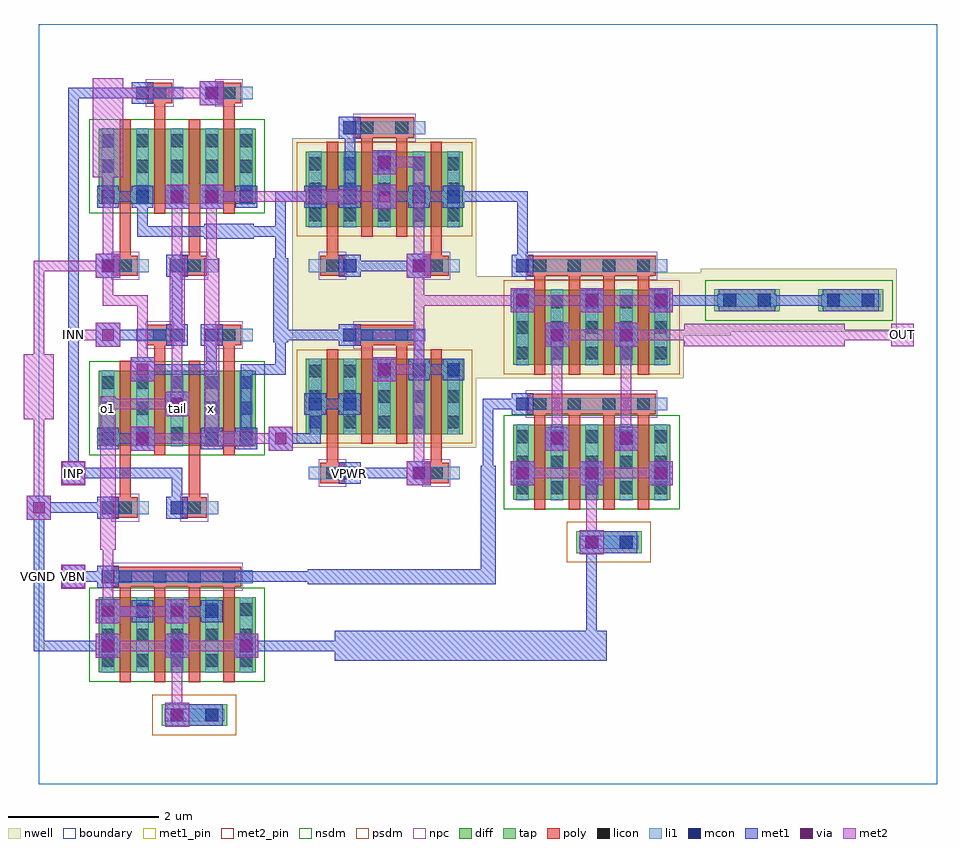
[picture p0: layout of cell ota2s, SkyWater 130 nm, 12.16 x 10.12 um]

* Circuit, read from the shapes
.subckt ota2s INN INP OUT VBN VGND VPWR o1 tail x
XM1 tail VBN VGND VGND sky130_fd_pr__nfet_01v8 w=1 l=0.15 m=4
XM2 o1 VGND o1 VGND sky130_fd_pr__nfet_01v8 w=1 l=0.15 m=2
XM3 x VGND x VGND sky130_fd_pr__nfet_01v8 w=1 l=0.15 m=2
XM4 tail INN o1 VGND sky130_fd_pr__nfet_01v8 w=1 l=0.15 m=2
XM5 tail INP x VGND sky130_fd_pr__nfet_01v8 w=1 l=0.15 m=2
XM6 OUT VBN VGND VGND sky130_fd_pr__nfet_01v8 w=1 l=0.15 m=4
XM7 o1 VPWR o1 VPWR sky130_fd_pr__pfet_01v8 w=1 l=0.15 m=2
XM8 x VPWR x VPWR sky130_fd_pr__pfet_01v8 w=1 l=0.15 m=2
XM9 VPWR x o1 VPWR sky130_fd_pr__pfet_01v8 w=1 l=0.15 m=2
XM10 VPWR x x VPWR sky130_fd_pr__pfet_01v8 w=1 l=0.15 m=2
XM11 OUT o1 VPWR VPWR sky130_fd_pr__pfet_01v8 w=1 l=0.15 m=4
.ends

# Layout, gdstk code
import gdstk
lib = gdstk.Library(unit=1e-6, precision=1e-09)
def R(c, l, rs):  # rectangles x0, y0, x1, y1
    for r in rs: c.add(gdstk.rectangle(r[:2], r[2:], *l))
def A(c, l, x, y, w, h, nx, ny, dx, dy):  # array of equal rectangles
    R(c, l, [(x+i*dx, y+j*dy, x+i*dx+w, y+j*dy+h) for i in range(nx) for j in range(ny)])
nwell = (64, 20)
diff = (65, 20)
tap = (65, 44)
poly = (66, 20)
licon = (66, 44)
li1 = (67, 20)
mcon = (67, 44)
met1_pin = (68, 16)
met1 = (68, 20)
via = (68, 44)
met2_pin = (69, 16)
met2 = (69, 20)
nsdm = (93, 44)
psdm = (94, 20)
npc = (95, 20)
boundary = (235, 4)

ota2s = lib.new_cell('ota2s')
R(ota2s, nwell, [(3.375,4.48,5.825,5.4), (3.375,5.4,8.585,5.97), (3.375,5.97,9.212,6.02), (3.375,6.02,11.425,6.76), (3.375,6.76,5.825,8.6), (8.188,6.76,11.425,6.81), (8.815,6.81,11.425,6.86)])
R(ota2s, diff, [(0.795,1.485,2.885,2.485), (6.315,3.785,8.405,4.785), (0.795,4.505,2.885,5.505), (3.555,4.66,5.645,5.66), (6.315,5.58,8.405,6.58), (3.555,7.42,5.645,8.42), (0.795,7.725,2.885,8.725)])
R(ota2s, tap, [(1.635,0.775,2.505,1.065), (7.155,3.075,8.025,3.365), (8.995,6.295,9.865,6.585), (10.375,6.295,11.245,6.585)])
A(ota2s, poly, 1.075, 1.355, 0.15, 1.405, 4, 1, 0.46, 0)
A(ota2s, poly, 6.595, 3.655, 0.15, 1.405, 4, 1, 0.46, 0)
A(ota2s, poly, 6.595, 5.45, 0.15, 1.45, 4, 1, 0.46, 0)
R(ota2s, poly, [(0.985,2.625,2.695,2.895), (0.985,3.545,1.315,3.815), (1.905,3.545,2.235,3.815), (1.075,3.68,1.225,5.635), (1.995,3.68,2.145,5.635), (3.745,4.005,4.075,4.275), (5.125,4.005,5.455,4.275), (3.835,4.14,3.985,5.79), (5.215,4.14,5.365,5.79), (1.535,4.375,1.685,5.98), (2.455,4.375,2.605,5.98), (4.295,4.53,4.445,5.98), (4.755,4.53,4.905,5.98), (6.505,4.925,8.215,5.195), (1.445,5.845,1.775,6.115), (2.365,5.845,2.695,6.115), (4.205,5.845,4.995,6.115), (0.985,6.765,1.315,7.035), (1.905,6.765,2.235,7.035), (3.745,6.765,4.075,7.035), (5.125,6.765,5.455,7.035), (6.505,6.765,8.215,7.035), (1.075,6.9,1.225,8.855), (1.995,6.9,2.145,8.855), (3.835,6.9,3.985,8.55), (5.215,6.9,5.365,8.55), (4.295,7.29,4.445,8.74), (4.755,7.29,4.905,8.74), (1.535,7.595,1.685,9.2), (2.455,7.595,2.605,9.2), (4.205,8.605,4.995,8.875), (1.445,9.065,1.775,9.335), (2.365,9.065,2.695,9.335)])
A(ota2s, licon, 0.835, 1.56, 0.17, 0.17, 5, 3, 0.46, 0.34)
A(ota2s, licon, 1.065, 2.675, 0.17, 0.17, 4, 1, 0.46, 0)
A(ota2s, licon, 6.355, 3.86, 0.17, 0.17, 5, 3, 0.46, 0.34)
A(ota2s, licon, 0.835, 4.58, 0.17, 0.17, 5, 3, 0.46, 0.34)
A(ota2s, licon, 3.595, 4.735, 0.17, 0.17, 5, 3, 0.46, 0.34)
A(ota2s, licon, 6.585, 4.975, 0.17, 0.17, 4, 1, 0.46, 0)
A(ota2s, licon, 6.355, 5.655, 0.17, 0.17, 5, 3, 0.46, 0.34)
A(ota2s, licon, 3.825, 6.815, 0.17, 0.17, 3, 1, 1.38, 0)
A(ota2s, licon, 7.045, 6.815, 0.17, 0.17, 3, 1, 0.46, 0)
A(ota2s, licon, 3.595, 7.495, 0.17, 0.17, 5, 3, 0.46, 0.34)
A(ota2s, licon, 0.835, 7.8, 0.17, 0.17, 5, 3, 0.46, 0.34)
R(ota2s, licon, [(1.755,0.835,1.925,1.005), (2.215,0.835,2.385,1.005), (7.275,3.135,7.445,3.305), (7.735,3.135,7.905,3.305), (1.065,3.595,1.235,3.765), (1.985,3.595,2.155,3.765), (3.825,4.055,3.995,4.225), (5.205,4.055,5.375,4.225), (1.525,5.895,1.695,6.065), (2.445,5.895,2.615,6.065), (4.285,5.895,4.455,6.065), (4.745,5.895,4.915,6.065), (9.115,6.355,9.285,6.525), (9.575,6.355,9.745,6.525), (10.495,6.355,10.665,6.525), (10.955,6.355,11.125,6.525), (1.065,6.815,1.235,6.985), (1.985,6.815,2.155,6.985), (4.285,8.655,4.455,8.825), (4.745,8.655,4.915,8.825), (1.525,9.115,1.695,9.285), (2.445,9.115,2.615,9.285)])
A(ota2s, li1, 0.835, 1.48, 0.17, 1.01, 5, 2, 0.46, 3.02)
A(ota2s, li1, 6.355, 3.78, 0.17, 1.01, 5, 2, 0.46, 1.795)
A(ota2s, li1, 3.595, 4.655, 0.17, 1.01, 5, 2, 0.46, 2.76)
A(ota2s, li1, 0.835, 7.72, 0.17, 1.01, 5, 1, 0.46, 0)
R(ota2s, li1, [(1.675,0.835,2.465,1.005), (0.835,2.675,2.845,2.845), (7.195,3.135,7.985,3.305), (0.835,3.595,1.465,3.765), (1.755,3.595,2.385,3.765), (3.595,4.055,4.225,4.225), (4.975,4.055,5.605,4.225), (6.355,4.975,8.365,5.145), (1.295,5.895,1.925,6.065), (2.215,5.895,2.845,6.065), (4.055,5.895,5.145,6.065), (9.035,6.355,9.825,6.525), (10.415,6.355,11.205,6.525), (0.835,6.815,1.465,6.985), (1.755,6.815,2.385,6.985), (3.595,6.815,4.225,6.985), (4.975,6.815,5.605,6.985), (6.355,6.815,8.365,6.985), (4.055,8.655,5.145,8.825), (1.295,9.115,1.925,9.285), (2.215,9.115,2.845,9.285)])
A(ota2s, mcon, 0.835, 1.755, 0.17, 0.17, 3, 1, 0.92, 0)
A(ota2s, mcon, 0.835, 2.675, 0.17, 0.17, 1, 3, 0, 0.92)
A(ota2s, mcon, 7.735, 3.135, 0.17, 0.17, 1, 3, 0, 1.38)
A(ota2s, mcon, 4.055, 4.055, 0.17, 0.17, 1, 6, 0, 0.92)
A(ota2s, mcon, 6.355, 4.055, 0.17, 0.17, 3, 1, 0.92, 0)
A(ota2s, mcon, 1.755, 4.975, 0.17, 0.17, 1, 3, 0, 0.92)
A(ota2s, mcon, 4.515, 5.435, 0.17, 0.17, 3, 1, 0.46, 0)
A(ota2s, mcon, 6.355, 6.355, 0.17, 0.17, 4, 1, 0.92, 0)
A(ota2s, mcon, 0.835, 7.735, 0.17, 0.17, 5, 1, 0.46, 0)
R(ota2s, mcon, [(1.755,0.835,1.925,1.005), (2.215,0.835,2.385,1.005), (1.295,2.215,1.465,2.385), (2.215,2.215,2.385,2.385), (7.275,3.135,7.445,3.305), (1.755,3.595,1.925,3.765), (4.975,4.055,5.145,4.225), (1.295,4.515,1.465,4.685), (2.215,4.515,2.385,4.685), (2.675,4.515,2.845,4.685), (6.815,4.515,6.985,4.685), (3.595,4.975,3.765,5.145), (6.355,4.975,6.525,5.145), (2.215,5.895,2.385,6.065), (6.815,5.895,6.985,6.065), (9.575,6.355,9.745,6.525), (10.495,6.355,10.665,6.525), (10.955,6.355,11.125,6.525), (0.835,6.815,1.005,6.985), (4.975,6.815,5.145,6.985), (6.355,6.815,6.525,6.985), (3.595,7.735,3.765,7.905), (4.975,7.735,5.145,7.905), (5.435,7.735,5.605,7.905), (4.515,8.195,4.685,8.365), (1.295,9.115,1.465,9.285), (2.215,9.115,2.385,9.285)])
R(ota2s, met1_pin, [(-0.07,1.77,0.07,3.75), (3.995,3.995,4.285,4.285)])
A(ota2s, met1, 0.76, 1.68, 0.32, 0.32, 3, 1, 0.92, 0)
A(ota2s, met1, 0.775, 1.695, 0.29, 0.29, 3, 1, 0.92, 0)
A(ota2s, met1, 1.68, 2.14, 0.32, 0.32, 1, 3, 0, 2.76)
A(ota2s, met1, 0.775, 2.615, 0.29, 0.29, 1, 3, 0, 0.92)
A(ota2s, met1, 6.28, 3.98, 0.32, 0.32, 3, 2, 0.92, 2.3)
A(ota2s, met1, 3.995, 3.995, 0.29, 0.29, 1, 6, 0, 0.92)
A(ota2s, met1, 6.295, 3.995, 0.29, 0.29, 3, 2, 0.92, 2.3)
A(ota2s, met1, 1.695, 4.915, 0.29, 0.29, 1, 3, 0, 0.92)
A(ota2s, met1, 4.455, 5.375, 0.29, 0.29, 3, 1, 0.46, 0)
A(ota2s, met1, 0.775, 7.675, 0.29, 0.29, 5, 1, 0.46, 0)
R(ota2s, met1, [(1.68,0.76,2,1.08), (1.695,0.775,2.445,1.065), (1.77,0.85,1.91,0.99), (3.94,1.64,7.56,2.04), (-0.07,1.77,0.99,1.91), (-0.07,1.77,0.07,3.75), (2.69,1.77,4.21,1.91), (7.29,1.77,7.43,3.29), (0.76,2.14,1.08,2.46), (1.235,2.155,1.525,2.445), (2.155,2.155,2.445,2.445), (0.85,2.23,1.45,2.37), (1.77,2.23,2.37,2.37), (0.3,2.6,0.62,2.92), (3.58,2.66,6.08,2.86), (5.88,2.66,6.08,4.24), (0.39,2.69,0.99,2.83), (0.85,2.69,3.75,2.83), (7.2,3.06,7.52,3.38), (7.215,3.075,7.965,3.365), (7.29,3.15,7.43,3.29), (-0.16,3.52,0.16,3.84), (1.695,3.535,1.985,3.825), (-0.07,3.61,0.99,3.75), (1.77,3.61,1.91,4.21), (0.3,3.98,0.62,4.3), (4.9,3.98,5.22,4.3), (4.915,3.995,5.205,4.285), (0.39,4.07,0.53,9.27), (0.39,4.07,1.91,4.21), (4.07,4.07,5.13,4.21), (5.91,4.07,6.05,5.13), (1.22,4.44,1.54,4.76), (3.06,4.44,3.38,4.76), (6.74,4.44,7.06,4.76), (7.66,4.44,7.98,4.76), (1.235,4.455,1.525,4.745), (2.155,4.455,2.445,4.745), (2.615,4.455,2.905,4.745), (6.755,4.455,7.045,4.745), (7.675,4.455,7.965,4.745), (0.85,4.53,1.45,4.67), (2.23,4.53,2.83,4.67), (2.69,4.53,2.83,5.59), (3.15,4.53,3.75,4.67), (3.61,4.53,3.75,5.13), (3.535,4.915,3.825,5.205), (6.295,4.915,6.585,5.205), (3.61,4.99,4.21,5.13), (5.91,4.99,6.51,5.13), (1.22,5.36,1.54,5.68), (4.44,5.36,4.76,5.68), (1.31,5.45,2.37,5.59), (2.23,5.45,2.37,6.05), (2.69,5.45,3.29,5.59), (3.15,5.45,3.29,6.05), (4.99,5.45,5.59,5.59), (4.99,5.45,5.13,6.05), (0.76,5.82,1.08,6.14), (6.74,5.82,7.06,6.14), (7.66,5.82,7.98,6.14), (2.155,5.835,2.445,6.125), (6.755,5.835,7.045,6.125), (7.675,5.835,7.965,6.125), (3.12,5.88,3.32,7), (0.85,5.91,1.91,6.05), (1.77,5.91,1.91,6.97), (3.15,5.91,4.21,6.05), (4.07,5.91,5.13,6.05), (9.055,6.295,9.805,6.585), (10.435,6.295,11.185,6.585), (8.21,6.37,9.27,6.51), (9.13,6.37,9.27,6.51), (9.13,6.37,10.65,6.51), (10.51,6.37,10.65,6.51), (0.76,6.74,1.08,7.06), (4.9,6.74,5.22,7.06), (0.775,6.755,1.065,7.045), (4.915,6.755,5.205,7.045), (6.295,6.755,6.585,7.045), (3.15,6.83,3.29,7.89), (4.07,6.83,5.13,6.97), (6.37,6.83,6.51,7.89), (2.2,7.26,2.86,7.46), (1.31,7.29,1.45,7.89), (1.31,7.29,2.37,7.43), (2.69,7.29,3.29,7.43), (2.14,7.66,2.46,7.98), (4.44,7.66,4.76,7.98), (3.535,7.675,3.825,7.965), (4.915,7.675,5.205,7.965), (5.375,7.675,5.665,7.965), (0.85,7.75,1.45,7.89), (2.23,7.75,2.83,7.89), (3.15,7.75,3.75,7.89), (3.61,7.75,4.21,7.89), (4.07,7.75,4.21,8.81), (4.53,7.75,5.13,7.89), (4.99,7.75,5.59,7.89), (5.45,7.75,6.51,7.89), (4.44,8.12,4.76,8.44), (4.455,8.135,4.745,8.425), (2.14,9.04,2.46,9.36), (1.235,9.055,1.525,9.345), (2.155,9.055,2.445,9.345), (0.39,9.13,1.45,9.27)])
A(ota2s, via, 0.845, 1.765, 0.15, 0.15, 3, 1, 0.92, 0)
A(ota2s, via, 1.765, 2.225, 0.15, 0.15, 1, 3, 0, 2.76)
A(ota2s, via, 6.365, 4.065, 0.15, 0.15, 3, 2, 0.92, 2.3)
R(ota2s, via, [(1.765,0.845,1.915,0.995), (0.845,2.225,0.995,2.375), (0.385,2.685,0.535,2.835), (7.285,3.145,7.435,3.295), (-0.075,3.605,0.075,3.755), (0.385,4.065,0.535,4.215), (4.985,4.065,5.135,4.215), (1.305,4.525,1.455,4.675), (3.145,4.525,3.295,4.675), (6.825,4.525,6.975,4.675), (7.745,4.525,7.895,4.675), (1.305,5.445,1.455,5.595), (4.525,5.445,4.675,5.595), (0.845,5.905,0.995,6.055), (6.825,5.905,6.975,6.055), (7.745,5.905,7.895,6.055), (0.845,6.825,0.995,6.975), (4.985,6.825,5.135,6.975), (2.225,7.745,2.375,7.895), (4.525,7.745,4.675,7.895), (4.525,8.205,4.675,8.355), (2.225,9.125,2.375,9.275)])
R(ota2s, met2_pin, [(0.31,2.61,0.61,2.91), (0.31,3.99,0.61,4.29), (11.35,5.83,11.65,6.13), (0.39,5.91,0.53,6.05)])
A(ota2s, met2, 0.76, 1.68, 0.32, 0.32, 3, 1, 0.92, 0)
A(ota2s, met2, 1.68, 2.14, 0.32, 0.32, 1, 3, 0, 2.76)
A(ota2s, met2, 6.28, 3.98, 0.32, 0.32, 3, 2, 0.92, 2.3)
A(ota2s, met2, 4.99, 4.07, 0.14, 1.52, 1, 3, 0, 1.38)
R(ota2s, met2, [(1.68,0.76,2,1.08), (1.77,0.85,1.91,1.91), (0.85,1.77,1.91,1.91), (1.77,1.77,2.83,1.91), (0.76,2.14,1.08,2.46), (0.85,2.23,1.91,2.37), (0.85,2.23,0.99,3.29), (0.3,2.6,0.62,2.92), (0.31,2.61,0.61,2.91), (0.39,2.69,0.53,2.83), (7.2,3.06,7.52,3.38), (0.82,3.12,1.02,5.16), (7.29,3.15,7.43,4.21), (-0.16,3.52,0.16,3.84), (-0.07,3.61,0.07,5.13), (0.3,3.98,0.62,4.3), (4.9,3.98,5.22,4.3), (0.31,3.99,0.61,4.29), (0.39,4.07,0.53,4.21), (6.37,4.07,7.43,4.21), (7.29,4.07,8.35,4.21), (1.22,4.44,1.54,4.76), (3.06,4.44,3.38,4.76), (6.74,4.44,7.06,4.76), (7.66,4.44,7.98,4.76), (2.2,4.5,2.86,4.7), (2.2,4.5,2.4,7), (1.31,4.53,2.37,4.67), (2.69,4.53,3.29,4.67), (6.83,4.53,6.97,6.05), (7.75,4.53,7.89,6.05), (-0.2,4.86,0.2,5.72), (0.85,4.99,1.91,5.13), (1.77,4.99,1.91,6.05), (1.22,5.36,1.54,5.68), (4.44,5.36,4.76,5.68), (-0.07,5.45,0.07,6.97), (1.31,5.45,1.45,6.51), (4.53,5.45,5.13,5.59), (0.76,5.82,1.08,6.14), (6.74,5.82,7.06,6.14), (7.66,5.82,7.98,6.14), (8.59,5.83,10.73,6.13), (11.35,5.83,11.65,6.13), (1.74,5.88,1.94,7), (0.39,5.91,0.53,6.05), (0.39,5.91,0.99,6.05), (6.83,5.91,7.89,6.05), (7.75,5.91,8.81,6.05), (10.51,5.91,11.57,6.05), (11.43,5.91,11.57,6.05), (0.85,6.37,1.45,6.51), (0.85,6.37,0.99,6.97), (4.99,6.37,6.51,6.51), (6.37,6.37,7.43,6.51), (7.29,6.37,8.35,6.51), (0.76,6.74,1.08,7.06), (4.9,6.74,5.22,7.06), (-0.07,6.83,0.99,6.97), (0.85,6.83,0.99,8.35), (1.77,6.83,1.91,7.89), (2.23,6.83,2.37,7.89), (2.14,7.66,2.46,7.98), (4.44,7.66,4.76,7.98), (3.58,7.72,4.24,7.92), (2.23,7.75,3.75,7.89), (4.07,7.75,4.67,7.89), (0.72,8.08,1.12,9.4), (4.44,8.12,4.76,8.44), (4.53,8.21,5.13,8.35), (2.14,9.04,2.46,9.36), (0.85,9.13,2.37,9.27)])
R(ota2s, nsdm, [(0.67,1.36,3.01,2.61), (6.19,3.66,8.53,4.91), (0.67,4.38,3.01,5.63), (8.87,6.17,11.37,6.71), (0.67,7.6,3.01,8.85)])
R(ota2s, psdm, [(1.51,0.65,2.63,1.19), (7.03,2.95,8.15,3.49), (3.43,4.535,5.77,5.785), (6.19,5.455,8.53,6.705), (3.43,7.295,5.77,8.545)])
R(ota2s, npc, [(0.965,2.575,2.715,2.945), (0.965,3.495,1.335,3.865), (1.885,3.495,2.255,3.865), (3.725,3.955,4.095,4.325), (5.105,3.955,5.475,4.325), (6.485,4.875,8.235,5.245), (1.425,5.795,1.795,6.165), (2.345,5.795,2.715,6.165), (4.185,5.795,5.015,6.165), (0.965,6.715,1.335,7.085), (1.885,6.715,2.255,7.085), (3.725,6.715,4.095,7.085), (5.105,6.715,5.475,7.085), (6.485,6.715,8.235,7.085), (4.185,8.555,5.015,8.925), (1.425,9.015,1.795,9.385), (2.345,9.015,2.715,9.385)])
R(ota2s, boundary, [(0,0,11.96,10.12)])
ota2s.add(gdstk.Label('o1', (0.92,5.005), layer=67, texttype=5))
ota2s.add(gdstk.Label('tail', (1.84,5.005), layer=67, texttype=5))
ota2s.add(gdstk.Label('x', (2.3,5.005), layer=67, texttype=5))
ota2s.add(gdstk.Label('VPWR', (4.14,4.14), layer=68, texttype=5))
ota2s.add(gdstk.Label('VGND', (0,2.76), layer=68, texttype=5))
ota2s.add(gdstk.Label('INP', (0.46,4.14), layer=69, texttype=5))
ota2s.add(gdstk.Label('INN', (0.46,5.98), layer=69, texttype=5))
ota2s.add(gdstk.Label('VBN', (0.46,2.76), layer=69, texttype=5))
ota2s.add(gdstk.Label('OUT', (11.5,5.98), layer=69, texttype=5))
ota2s.add(gdstk.Label('VPWR', (4.14,4.14), layer=68, texttype=16))
ota2s.add(gdstk.Label('VGND', (0,2.76), layer=68, texttype=16))
ota2s.add(gdstk.Label('INP', (0.46,4.14), layer=69, texttype=16))
ota2s.add(gdstk.Label('INN', (0.46,5.98), layer=69, texttype=16))
ota2s.add(gdstk.Label('VBN', (0.46,2.76), layer=69, texttype=16))
ota2s.add(gdstk.Label('OUT', (11.5,5.98), layer=69, texttype=16))

lib.write_gds('ota2s.gds')
